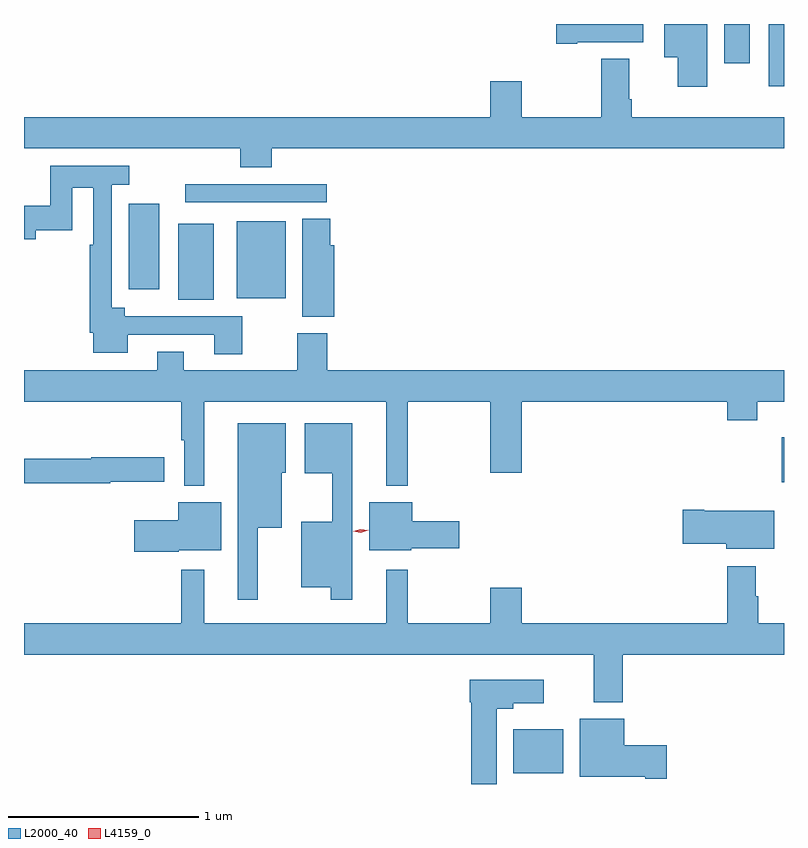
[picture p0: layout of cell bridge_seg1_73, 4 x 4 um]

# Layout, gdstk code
import gdstk
lib = gdstk.Library(unit=1e-6, precision=1e-09)
def R(c, l, rs):  # rectangles x0, y0, x1, y1
    for r in rs: c.add(gdstk.rectangle(r[:2], r[2:], *l))
def P(c, l, *ps):  # polygons
    for p in ps: c.add(gdstk.Polygon(p, *l))
L2000_40 = (2000, 40)
L4159_0 = (4159, 0)

bridge_seg1_73 = lib.new_cell('bridge_seg1_73')
R(bridge_seg1_73, L2000_40, [(536.756,531.128,537.019,531.358), (538.168,532.659,538.181,532.896), (534.992,533.621,535.18,534.019), (535.301,533.627,535.558,534.034), (534.731,533.676,534.892,534.124), (535.029,534.132,535.774,534.228), (538.1,534.744,538.181,535.071), (537.866,534.864,538,535.071)])
P(bridge_seg1_73, L2000_40, [(537.094,534.974),(537.439,534.974),(537.439,535.071),(536.982,535.071),(536.982,534.967),(537.094,534.967)],
  [(537.778,535.071),(537.551,535.071),(537.551,534.896),(537.623,534.896),(537.623,534.741),(537.778,534.741)],
  [(535.484,534.416),(538.181,534.416),(538.181,534.58),(537.38,534.58),(537.38,534.676),(537.367,534.676),(537.367,534.889),(537.22,534.889),(537.22,534.58),(536.8,534.58),(536.8,534.769),(536.636,534.769),(536.636,534.58),(534.181,534.58),(534.181,534.416),(535.319,534.416),(535.319,534.317),(535.484,534.317)],
  [(535.329,533.532),(534.712,533.532),(534.712,533.578),(534.642,533.578),(534.642,534.224),(534.736,534.224),(534.736,534.324),(534.319,534.324),(534.319,534.115),(534.181,534.115),(534.181,533.939),(534.244,533.939),(534.244,533.986),(534.435,533.986),(534.435,534.208),(534.546,534.208),(534.546,533.909),(534.526,533.909),(534.526,533.446),(534.545,533.446),(534.545,533.342),(534.727,533.342),(534.727,533.436),(535.181,533.436),(535.181,533.334),(535.329,533.334)],
  [(535.814,533.907),(535.793,533.907),(535.793,534.047),(535.646,534.047),(535.646,533.531),(535.814,533.531)],
  [(535.129,533.084),(536.087,533.084),(536.087,532.64),(536.201,532.64),(536.201,533.084),(536.636,533.084),(536.636,532.71),(536.8,532.71),(536.8,533.084),(537.881,533.084),(537.881,532.985),(538.041,532.985),(538.041,533.084),(538.181,533.084),(538.181,533.248),(535.778,533.248),(535.778,533.443),(535.618,533.443),(535.618,533.248),(535.021,533.248),(535.021,533.347),(534.881,533.347),(534.881,533.248),(534.181,533.248),(534.181,533.084),(535.008,533.084),(535.008,532.879),(535.025,532.879),(535.025,532.64),(535.129,532.64)],
  [(535.909,532.969),(535.658,532.969),(535.658,532.706),(535.803,532.706),(535.803,532.45),(535.64,532.45),(535.64,532.106),(535.795,532.106),(535.795,532.041),(535.909,532.041)],
  [(535.411,532.421),(535.537,532.421),(535.537,532.71),(535.558,532.71),(535.558,532.969),(535.307,532.969),(535.307,532.041),(535.411,532.041)],
  [(534.634,532.661),(534.919,532.661),(534.919,532.791),(534.534,532.791),(534.534,532.783),(534.181,532.783),(534.181,532.654),(534.634,532.654)],
  [(536.22,532.312),(536.473,532.312),(536.473,532.454),(536.224,532.454),(536.224,532.555),(535.997,532.555),(535.997,532.301),(536.22,532.301)],
  [(534.996,532.301),(535.219,532.301),(535.219,532.555),(534.992,532.555),(534.992,532.459),(534.762,532.459),(534.762,532.294),(534.996,532.294)],
  [(538.129,532.509),(537.76,532.509),(537.76,532.514),(537.648,532.514),(537.648,532.336),(537.878,532.336),(537.878,532.31),(538.129,532.31)],
  [(537.332,531.752),(538.181,531.752),(538.181,531.916),(538.046,531.916),(538.046,532.058),(538.033,532.058),(538.033,532.216),(537.881,532.216),(537.881,531.916),(536.8,531.916),(536.8,532.105),(536.636,532.105),(536.636,531.916),(536.201,531.916),(536.201,532.198),(536.087,532.198),(536.087,531.916),(535.129,531.916),(535.129,532.198),(535.008,532.198),(535.008,531.916),(534.181,531.916),(534.181,531.752),(537.179,531.752),(537.179,531.5),(537.332,531.5)],
  [(536.668,531.467),(536.755,531.467),(536.755,531.497),(536.917,531.497),(536.917,531.619),(536.528,531.619),(536.528,531.501),(536.534,531.501),(536.534,531.071),(536.668,531.071)],
  [(537.565,531.276),(537.34,531.276),(537.34,531.415),(537.107,531.415),(537.107,531.11),(537.452,531.11),(537.452,531.098),(537.565,531.098)])
P(bridge_seg1_73, L4159_0, [(535.953,532.393),(535.913,532.4),(535.913,532.4),(535.913,532.4),(535.952,532.413),(535.992,532.407),(535.992,532.406),(535.992,532.406)])

lib.write_gds('bridge_seg1_73.gds')
